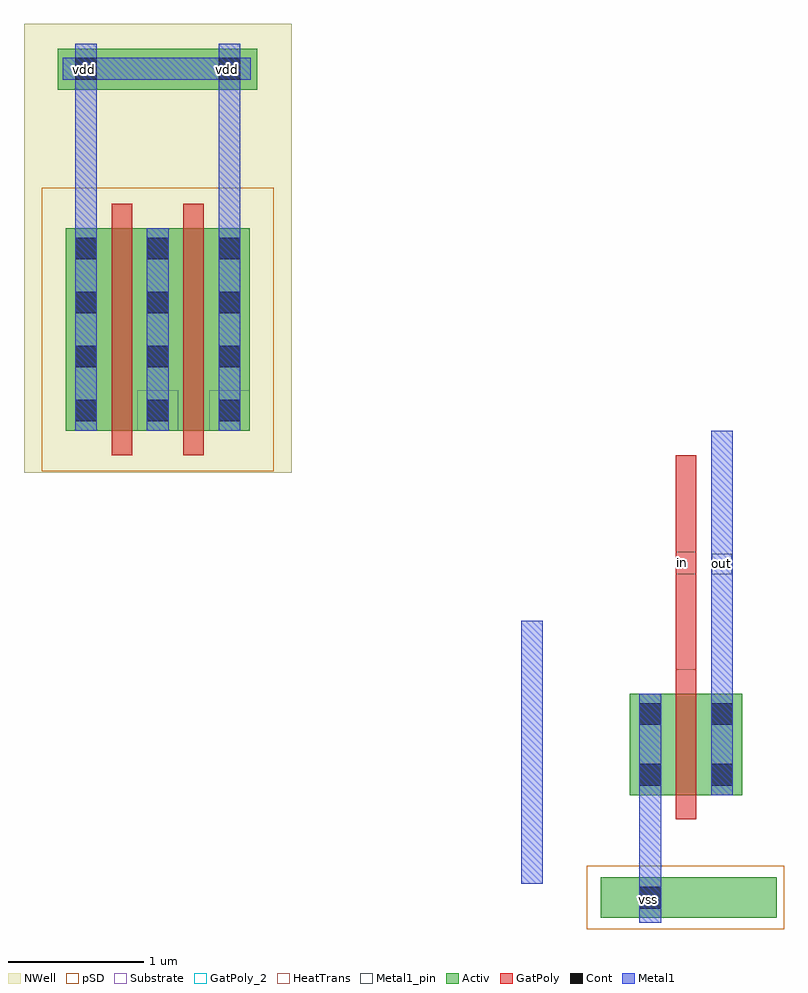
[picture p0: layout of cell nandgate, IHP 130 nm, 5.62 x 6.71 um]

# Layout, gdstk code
import gdstk
lib = gdstk.Library(unit=1e-6, precision=5e-09)
def R(c, l, rs):  # rectangles x0, y0, x1, y1
    for r in rs: c.add(gdstk.rectangle(r[:2], r[2:], *l))
def A(c, l, x, y, w, h, nx, ny, dx, dy):  # array of equal rectangles
    R(c, l, [(x+i*dx, y+j*dy, x+i*dx+w, y+j*dy+h) for i in range(nx) for j in range(ny)])
Activ = (1, 0)
GatPoly = (5, 0)
GatPoly_2 = (5, 2)
Cont = (6, 0)
Metal1 = (8, 0)
Metal1_pin = (8, 2)
pSD = (14, 0)
NWell = (31, 0)
Substrate = (40, 0)
HeatTrans = (51, 0)

nmos = lib.new_cell('nmos')
R(nmos, Activ, [(0,0,0.3,0.3), (0,0,0.83,0.75), (0.53,0,0.83,0.3)])
R(nmos, GatPoly, [(0.34,-0.18,0.49,0.93)])
R(nmos, GatPoly_2, [(0.34,-0.18,0.49,0.93)])
R(nmos, Cont, [(0.07,0.07,0.23,0.23), (0.6,0.07,0.76,0.23), (0.07,0.52,0.23,0.68), (0.6,0.52,0.76,0.68)])
R(nmos, Metal1, [(0.07,0,0.23,0.75), (0.6,0,0.76,0.75)])
R(nmos, Metal1_pin, [(0.07,0,0.23,0.75), (0.6,0,0.76,0.75)])
R(nmos, HeatTrans, [(0.34,-0.18,0.49,0.93)])
nmos.add(gdstk.Label('nmos', (0.415,0.375), layer=63, texttype=0))
nmos.add(gdstk.Label('nmos', (0.415,0.375), layer=51, texttype=0))

pmos = lib.new_cell('pmos')
R(pmos, Activ, [(0,0,0.3,0.3), (0,0,0.83,1.5), (0.53,0,0.83,0.3)])
R(pmos, GatPoly, [(0.34,-0.18,0.49,1.68), (0.34,-0.18,0.49,1.68)])
A(pmos, Cont, 0.07, 0.07, 0.16, 0.16, 1, 4, 0, 0.4)
A(pmos, Cont, 0.6, 0.07, 0.16, 0.16, 1, 4, 0, 0.4)
R(pmos, Metal1, [(0.07,0,0.23,1.5), (0.07,0,0.23,1.5), (0.6,0,0.76,1.5), (0.6,0,0.76,1.5)])
R(pmos, pSD, [(-0.18,-0.3,1.01,1.8)])
R(pmos, NWell, [(-0.31,-0.31,1.14,1.81)])
R(pmos, Substrate, [(0.53,0,0.83,0.3)])
R(pmos, HeatTrans, [(0.34,-0.18,0.49,1.68)])
pmos.add(gdstk.Label('pmos', (0.415,0.75), layer=63, texttype=0))
pmos.add(gdstk.Label('pmos', (0.415,0.75), layer=51, texttype=0))

nandgate = lib.new_cell('nandgate')
R(nandgate, Activ, [(1.335,-3.14,2.635,-2.84), (-2.685,2.99,-1.21,3.295)])
R(nandgate, GatPoly, [(1.89,-1.3,2.04,0.285)])
R(nandgate, GatPoly_2, [(1.89,-0.595,2.04,-0.43)])
R(nandgate, Cont, [(1.62,-3.07,1.78,-2.91), (-2.555,3.065,-2.395,3.225), (-1.495,3.065,-1.335,3.225)])
R(nandgate, Metal1, [(1.62,-3.175,1.78,-2.23), (0.745,-2.885,0.905,-0.94), (2.15,-1.48,2.31,0.465), (-2.555,1.965,-2.395,3.33), (-1.495,1.965,-1.335,3.33), (-2.65,3.065,-1.255,3.225)])
R(nandgate, Metal1_pin, [(1.62,-3.07,1.78,-2.91), (2.155,-0.595,2.305,-0.445), (-2.555,3.065,-2.395,3.225), (-1.495,3.065,-1.335,3.225)])
R(nandgate, pSD, [(1.23,-3.225,2.69,-2.755)])
R(nandgate, NWell, [(-2.935,2.275,-0.955,3.48)])
nandgate.add(gdstk.Reference(nmos, (1.55,-2.23)))
nandgate.add(gdstk.Reference(pmos, (-2.095,0.465)))
nandgate.add(gdstk.Reference(pmos, (-2.625,0.465)))
nandgate.add(gdstk.Label('vdd', (-2.49,3.14), layer=8, texttype=2))
nandgate.add(gdstk.Label('vdd', (-1.43,3.14), layer=8, texttype=2))
nandgate.add(gdstk.Label('vss', (1.69,-3.005), layer=8, texttype=2))
nandgate.add(gdstk.Label('out', (2.23,-0.52), layer=8, texttype=2))
nandgate.add(gdstk.Label('in', (1.94,-0.51), layer=5, texttype=2))

lib.write_gds('nandgate.gds')
